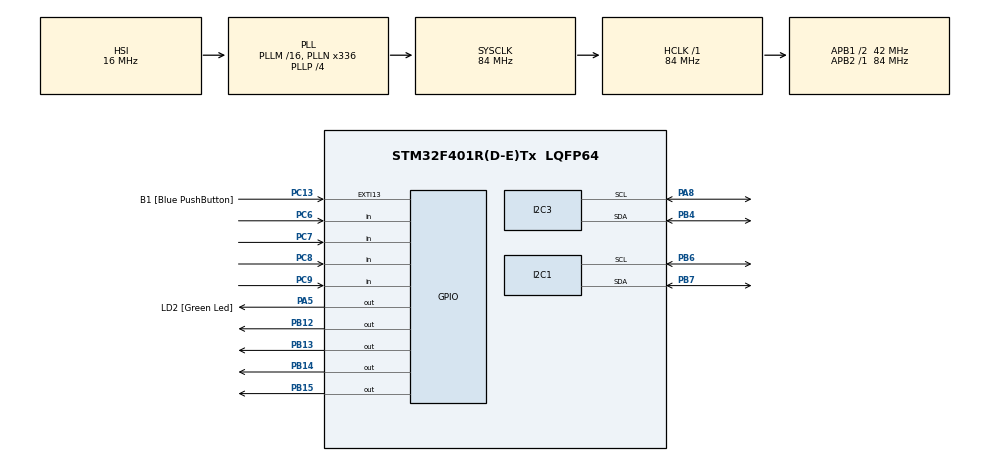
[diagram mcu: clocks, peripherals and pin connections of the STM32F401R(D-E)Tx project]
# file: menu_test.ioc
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Mcu.Family=STM32F4
Mcu.Name=STM32F401R(D-E)Tx
Mcu.Package=LQFP64
NVIC.PriorityGroup=NVIC_PRIORITYGROUP_0
PA13.GPIO_Label=TMS
PA13.Signal=SYS_JTMS-SWDIO
PA14.GPIO_Label=TCK
PA14.Signal=SYS_JTCK-SWCLK
PA2.GPIO_Label=USART_TX
PA2.GPIO_Mode=GPIO_MODE_AF_PP
PA2.GPIO_PuPd=GPIO_NOPULL
PA2.GPIO_Speed=GPIO_SPEED_FREQ_LOW
PA2.Signal=USART2_TX
PA3.GPIO_Label=USART_RX
PA3.GPIO_Mode=GPIO_MODE_AF_PP
PA3.GPIO_PuPd=GPIO_NOPULL
PA3.GPIO_Speed=GPIO_SPEED_FREQ_LOW
PA3.Signal=USART2_RX
PA5.GPIO_Label=LD2 [Green Led]
PA5.GPIO_Mode=GPIO_MODE_OUTPUT_PP
PA5.GPIO_PuPd=GPIO_NOPULL
PA5.GPIO_Speed=GPIO_SPEED_FREQ_LOW
PA5.Signal=GPIO_Output
PA8.Mode=I2C
PA8.Signal=I2C3_SCL
PB12.PinState=GPIO_PIN_SET
PB12.Signal=GPIO_Output
PB13.PinState=GPIO_PIN_SET
PB13.Signal=GPIO_Output
PB14.PinState=GPIO_PIN_SET
PB14.Signal=GPIO_Output
PB15.PinState=GPIO_PIN_SET
PB15.Signal=GPIO_Output
PB3.GPIO_Label=SWO
PB3.Signal=SYS_JTDO-SWO
PB4.Mode=I2C
PB4.Signal=I2C3_SDA
PB6.Mode=I2C
PB6.Signal=I2C1_SCL
PB7.Mode=I2C
PB7.Signal=I2C1_SDA
PC13-ANTI_TAMP.GPIO_Label=B1 [Blue PushButton]
PC13-ANTI_TAMP.GPIO_ModeDefaultEXTI=GPIO_MODE_IT_FALLING
PC13-ANTI_TAMP.GPIO_PuPd=GPIO_NOPULL
PC13-ANTI_TAMP.Signal=GPXTI13
PC14-OSC32_IN.Signal=RCC_OSC32_IN
PC15-OSC32_OUT.Signal=RCC_OSC32_OUT
PC6.GPIO_PuPd=GPIO_PULLUP
PC6.Signal=GPIO_Input
PC7.GPIO_PuPd=GPIO_PULLUP
PC7.Signal=GPIO_Input
PC8.GPIO_PuPd=GPIO_PULLUP
PC8.Signal=GPIO_Input
PC9.GPIO_PuPd=GPIO_PULLUP
PC9.Signal=GPIO_Input
PH0\ -\ OSC_IN.Signal=RCC_OSC_IN
PH1\ -\ OSC_OUT.Signal=RCC_OSC_OUT
ProjectManager.HeapSize=0x200
ProjectManager.StackSize=0x400
ProjectManager.TargetToolchain=STM32CubeIDE
RCC.AHBFreq_Value=84000000
RCC.APB1CLKDivider=RCC_HCLK_DIV2
RCC.APB1Freq_Value=42000000
RCC.APB1TimFreq_Value=84000000
RCC.APB2Freq_Value=84000000
RCC.APB2TimFreq_Value=84000000
RCC.CortexFreq_Value=84000000
RCC.HCLKFreq_Value=84000000
RCC.HSE_VALUE=8000000
RCC.HSI_VALUE=16000000
RCC.LSE_VALUE=32768
RCC.PLLN=336
RCC.PLLP=RCC_PLLP_DIV4
RCC.PLLQ=7
RCC.SYSCLKFreq_VALUE=84000000
RCC.SYSCLKSource=RCC_SYSCLKSOURCE_PLLCLK
RCC.VCOOutputFreq_Value=336000000
board=NUCLEO-F401RE

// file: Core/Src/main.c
/* USER CODE BEGIN Header */
/**
  ******************************************************************************
  * @file           : main.c
  * @brief          : Main program body
  ******************************************************************************
  * @attention
  *
  * Copyright (c) 2025 STMicroelectronics.
  * All rights reserved.
  *
  * This software is licensed under terms that can be found in the LICENSE file
  * in the root directory of this software component.
  * If no LICENSE file comes with this software, it is provided AS-IS.
  *
  ******************************************************************************
  */
/* USER CODE END Header */
#include "main.h"

/* USER CODE BEGIN Includes */
#include "keypad.h"
#include "LCD_I2C.h"
#include "stdio.h"
/* USER CODE END Includes */

I2C_HandleTypeDef hi2c1;
I2C_HandleTypeDef hi2c3;

/* USER CODE BEGIN PV */
CLCD_I2C_Name LCD1;
/* USER CODE END PV */

void SystemClock_Config(void);
static void MX_GPIO_Init(void);
static void MX_I2C1_Init(void);
static void MX_I2C3_Init(void);

/* USER CODE BEGIN 0 */

typedef struct{
	uint8_t payload[20];
	uint16_t len;
}parameter_t;

parameter_t data;

void delete_data(parameter_t *data) {
    if (data->len > 0) { // Kiểm tra xem có dữ liệu để xóa không
        data->len--; // Giảm độ dài
        data->payload[data->len] = '\0'; // �?ặt ký tự cuối thành '\0'
    }
}

void add_data(parameter_t *data, char c) {
    if (data->len < 10) { // �?ảm bảo không vượt quá mảng
        data->payload[data->len] = c; // Thêm ký tự vào vị trí tiếp theo
        data->len++;                   // Cập nhật độ dài
        data->payload[data->len] = '\0'; // �?ảm bảo kết thúc chuỗi
    }
}

void set_cow(uint8_t prev_state, uint8_t new_state) {
    CLCD_I2C_SetCursor(&LCD1, 19, prev_state); // Xóa ký tự "<" ở vị trí cũ
    CLCD_I2C_WriteString(&LCD1, " ");

    CLCD_I2C_SetCursor(&LCD1, 19, new_state); // Hiển thị ký tự "<" ở vị trí mới
    CLCD_I2C_WriteString(&LCD1, "<");
}

/* USER CODE END 0 */

int main(void)
{

  /* MCU Configuration--------------------------------------------------------*/

  /* Reset of all peripherals, Initializes the Flash interface and the Systick. */
  HAL_Init();

  /* Configure the system clock */
  SystemClock_Config();

  /* Initialize all configured peripherals */
  MX_GPIO_Init();
  MX_I2C1_Init();
  MX_I2C3_Init();
  /* USER CODE BEGIN 2 */
  CLCD_I2C_Init(&LCD1,&hi2c1,0x4e,20,4);
  CLCD_I2C_SetCursor(&LCD1, 0, 0);
  CLCD_I2C_WriteString(&LCD1,"s1:");
  CLCD_I2C_SetCursor(&LCD1, 0, 1);
  CLCD_I2C_WriteString(&LCD1,"t1:");
  CLCD_I2C_SetCursor(&LCD1, 0, 2);
  CLCD_I2C_WriteString(&LCD1,"s2:");
  CLCD_I2C_SetCursor(&LCD1, 0, 3);
  CLCD_I2C_WriteString(&LCD1,"t2:");
  CLCD_I2C_SetCursor(&LCD1, 19, 0);
  CLCD_I2C_WriteString(&LCD1, "<");

  /* USER CODE END 2 */

  /* Infinite loop */
  /* USER CODE BEGIN WHILE */

#define s1_s 0
#define t1_s 1
#define s2_s 2
#define t2_s 3

#define ENTER_PASSWORD 0
#define SET_PARAMETER 1
#define SAVE_PARAMETER 2

  while (1)
  {
    /* USER CODE END WHILE */

    /* USER CODE BEGIN 3 */

	      static parameter_t data[4] = {{{0}, 0}}; // Mảng chứa 4 cấu hình
	  	  static uint8_t state = 0;
	  	  static parameter_t password = {{0},0};

	  	  uint16_t btn_value;
	  	  btn_value = process_button_pad_value(read_keypad());
	  	  static uint16_t menu_state = SET_PARAMETER;

	  	if (btn_value) {
	  		printf("%d\n",btn_value);
		  	uint8_t prev_state;
		  	switch(menu_state){
				case SET_PARAMETER:
					switch (btn_value) {
						case BUTTON_A_3:
							CLCD_I2C_WriteString(&LCD1, "config state");
							break;

						case BUTTON_1:
							add_data(&data[state], '1');
							printf("len=%d, payload=%s\n", data[state].len, data[state].payload);
							CLCD_I2C_SetCursor(&LCD1, 3, state);
							CLCD_I2C_WriteString(&LCD1, (char*)data[state].payload);
							break;

						case BUTTON_2:
							add_data(&data[state], '2');
							printf("len=%d, payload=%s\n", data[state].len, data[state].payload);
							CLCD_I2C_SetCursor(&LCD1, 3, state);
							CLCD_I2C_WriteString(&LCD1, (char*)data[state].payload);
							break;

						case BUTTON_3:
							add_data(&data[state], '3');
							printf("len=%d, payload=%s\n", data[state].len, data[state].payload);
							CLCD_I2C_SetCursor(&LCD1, 3, state);
							CLCD_I2C_WriteString(&LCD1, (char*)data[state].payload);
							break;

						case BUTTON_A:
							prev_state = state; // save old position
							if (state == s1_s) state = t2_s;
							else state--; // new postion
							set_cow(prev_state, state);
							break;

						case BUTTON_4:
							add_data(&data[state], '4');
							printf("len=%d, payload=%s\n", data[state].len, data[state].payload);
							CLCD_I2C_SetCursor(&LCD1, 3, state);
							CLCD_I2C_WriteString(&LCD1, (char*)data[state].payload);
							break;

						case BUTTON_5:
							add_data(&data[state], '5');
							printf("len=%d, payload=%s\n", data[state].len, data[state].payload);
							CLCD_I2C_SetCursor(&LCD1, 3, state);
							CLCD_I2C_WriteString(&LCD1, (char*)data[state].payload);
							break;

						case BUTTON_6:
							add_data(&data[state], '6');
							printf("len=%d, payload=%s\n", data[state].len, data[state].payload);
							CLCD_I2C_SetCursor(&LCD1, 3, state);
							CLCD_I2C_WriteString(&LCD1, (char*)data[state].payload);
							break;

						case BUTTON_B:
							prev_state = state; // save old position
							if (state == t2_s) state = s1_s;
							else state++; // new position
							set_cow(prev_state, state);
							break;

						case BUTTON_7:
							add_data(&data[state], '7');
							printf("len=%d, payload=%s\n", data[state].len, data[state].payload);
							CLCD_I2C_SetCursor(&LCD1, 3, state);
							CLCD_I2C_WriteString(&LCD1, (char*)data[state].payload);
							break;

						case BUTTON_8:
							add_data(&data[state], '8');
							printf("len=%d, payload=%s\n", data[state].len, data[state].payload);
							CLCD_I2C_SetCursor(&LCD1, 3, state);
							CLCD_I2C_WriteString(&LCD1, (char*)data[state].payload);
							break;

						case BUTTON_9:
							add_data(&data[state], '9');
							printf("len=%d, payload=%s\n", data[state].len, data[state].payload);
							CLCD_I2C_SetCursor(&LCD1, 3, state);
							CLCD_I2C_WriteString(&LCD1, (char*)data[state].payload);
							break;

						case BUTTON_C:
							delete_data(&data[state]);
							printf("len=%d, payload=%s\n", data[state].len, data[state].payload);
							CLCD_I2C_SetCursor(&LCD1, 3+data[state].len, state);
							CLCD_I2C_WriteString(&LCD1, " ");
							CLCD_I2C_SetCursor(&LCD1, 3, state);
							CLCD_I2C_WriteString(&LCD1, (char*)data[state].payload);
							break;

						case BUTTON_Star:
							CLCD_I2C_WriteString(&LCD1, "*");
							break;

						case BUTTON_0:
							add_data(&data[state], '0');
							printf("len=%d, payload=%s\n", data[state].len, data[state].payload);
							CLCD_I2C_SetCursor(&LCD1, 3, state);
							CLCD_I2C_WriteString(&LCD1, (char*)data[state].payload);
							break;

						case BUTTON_Hash:
							CLCD_I2C_WriteString(&LCD1, "#");
							break;

						case BUTTON_D:
							 menu_state = ENTER_PASSWORD;
							 CLCD_I2C_Clear(&LCD1);
							 CLCD_I2C_SetCursor(&LCD1, 2, 0);
							 CLCD_I2C_WriteString(&LCD1, "change password");
							 CLCD_I2C_SetCursor(&LCD1, 0, 1);
							 CLCD_I2C_WriteString(&LCD1, "Enter:");
							 CLCD_I2C_WriteString(&LCD1, (char*)password.payload);
							 break;

						default:
							 break;
							 }// end switch
					break;
				case SAVE_PARAMETER:
					switch (btn_value) {
							case BUTTON_A:
								break;
							case BUTTON_B:
								break;
							case BUTTON_Star:
								 CLCD_I2C_WriteString(&LCD1, "*");
								break;

							case BUTTON_Hash:
								 CLCD_I2C_WriteString(&LCD1, "#");
								break;

							case BUTTON_D:
								 menu_state = SET_PARAMETER;
								 CLCD_I2C_Clear(&LCD1);
								 CLCD_I2C_SetCursor(&LCD1, 0, 0);
								 CLCD_I2C_WriteString(&LCD1, "s1:");
								 CLCD_I2C_SetCursor(&LCD1, 19, state);
								 CLCD_I2C_WriteString(&LCD1, "<");
								 CLCD_I2C_SetCursor(&LCD1, 3, 0);
								 CLCD_I2C_WriteString(&LCD1, (char*)data[0].payload);
								 CLCD_I2C_SetCursor(&LCD1, 0, 1);
								 CLCD_I2C_WriteString(&LCD1, "t1:");
								 CLCD_I2C_SetCursor(&LCD1, 3, 1);
								 CLCD_I2C_WriteString(&LCD1, (char*)data[1].payload);
								 CLCD_I2C_SetCursor(&LCD1, 0, 2);
								 CLCD_I2C_WriteString(&LCD1, "s1:");
								 CLCD_I2C_SetCursor(&LCD1, 3, 2);
								 CLCD_I2C_WriteString(&LCD1, (char*)data[2].payload);
								 CLCD_I2C_SetCursor(&LCD1, 0, 3);
								 CLCD_I2C_WriteString(&LCD1, "s1:");
								 CLCD_I2C_SetCursor(&LCD1, 3, 3);
								 CLCD_I2C_WriteString(&LCD1, (char*)data[3].payload);
								 break;

							 default:
								 break;
						 }// end switch
					break;
				case ENTER_PASSWORD:
					switch (btn_value) {
						case BUTTON_1:
							add_data(&password, '1');
							printf("len=%d, payload=%s\n", password.len, password.payload);
							CLCD_I2C_SetCursor(&LCD1, 6, 1);
							CLCD_I2C_WriteString(&LCD1, (char*)password.payload);
							break;

						case BUTTON_2:
							add_data(&password, '2');
							printf("len=%d, payload=%s\n", password.len, password.payload);
							CLCD_I2C_SetCursor(&LCD1, 6, 1);
							CLCD_I2C_WriteString(&LCD1, (char*)password.payload);
							break;

						case BUTTON_3:
							add_data(&password, '3');
							printf("len=%d, payload=%s\n", password.len, password.payload);
							CLCD_I2C_SetCursor(&LCD1, 6, 1);
							CLCD_I2C_WriteString(&LCD1, (char*)password.payload);
							break;

						case BUTTON_4:
							add_data(&password, '4');
							printf("len=%d, payload=%s\n", password.len, password.payload);
							CLCD_I2C_SetCursor(&LCD1, 6, 1);
							CLCD_I2C_WriteString(&LCD1, (char*)password.payload);
							break;

						case BUTTON_5:
							add_data(&password, '5');
							printf("len=%d, payload=%s\n", password.len, password.payload);
							CLCD_I2C_SetCursor(&LCD1, 6, 1);
							CLCD_I2C_WriteString(&LCD1, (char*)password.payload);
							break;

						 case BUTTON_6:
							add_data(&password, '6');
							printf("len=%d, payload=%s\n", password.len, password.payload);
							CLCD_I2C_SetCursor(&LCD1, 6, 1);
							CLCD_I2C_WriteString(&LCD1, (char*)password.payload);
							break;

						 case BUTTON_7:
							add_data(&password, '7');
							printf("len=%d, payload=%s\n", password.len, password.payload);
							CLCD_I2C_SetCursor(&LCD1, 6, 1);
							CLCD_I2C_WriteString(&LCD1, (char*)password.payload);
							break;

						 case BUTTON_8:
							add_data(&password, '8');
							printf("len=%d, payload=%s\n", password.len, password.payload);
							CLCD_I2C_SetCursor(&LCD1, 6, 1);
							CLCD_I2C_WriteString(&LCD1, (char*)password.payload);
							break;

						 case BUTTON_9:
							add_data(&password, '9');
							printf("len=%d, payload=%s\n", password.len, password.payload);
							CLCD_I2C_SetCursor(&LCD1, 6, 1);
							CLCD_I2C_WriteString(&LCD1, (char*)password.payload);
							break;

						 case BUTTON_C:
							delete_data(&password);
							printf("len=%d, payload=%s\n", password.len, password.payload);
							CLCD_I2C_SetCursor(&LCD1, 6+password.len, 1);
							CLCD_I2C_WriteString(&LCD1, " ");
							CLCD_I2C_SetCursor(&LCD1, 6, 1);
							CLCD_I2C_WriteString(&LCD1, (char*)password.payload);
							break;

						 case BUTTON_Star:
							 CLCD_I2C_WriteString(&LCD1, "*");
							 break;

						 case BUTTON_0:
							add_data(&password, '0');
							printf("len=%d, payload=%s\n", password.len, password.payload);
							CLCD_I2C_SetCursor(&LCD1, 6, 1);
							CLCD_I2C_WriteString(&LCD1, (char*)password.payload);
							 break;

						 case BUTTON_Hash:
							 CLCD_I2C_WriteString(&LCD1, "#");
							 break;

						 case BUTTON_D:
							 menu_state = SAVE_PARAMETER;
							 CLCD_I2C_Clear(&LCD1);
							 CLCD_I2C_SetCursor(&LCD1, 0, 0);
							 CLCD_I2C_WriteString(&LCD1, "Save new parameter?");
							 CLCD_I2C_SetCursor(&LCD1, 2, 1);
							 CLCD_I2C_WriteString(&LCD1, "YES(A)");
							 CLCD_I2C_SetCursor(&LCD1, 10, 1);
							 CLCD_I2C_WriteString(&LCD1, "NO(B)");
							 break;

						 default:
							 break;
						 }// end switch
					break;
	  		     }
	  	}
  }
  /* USER CODE END 3 */
}

void SystemClock_Config(void)
{
  RCC_OscInitTypeDef RCC_OscInitStruct = {0};
  RCC_ClkInitTypeDef RCC_ClkInitStruct = {0};

  /** Configure the main internal regulator output voltage
  */
  __HAL_RCC_PWR_CLK_ENABLE();
  __HAL_PWR_VOLTAGESCALING_CONFIG(PWR_REGULATOR_VOLTAGE_SCALE2);

  /** Initializes the RCC Oscillators according to the specified parameters
  * in the RCC_OscInitTypeDef structure.
  */
  RCC_OscInitStruct.OscillatorType = RCC_OSCILLATORTYPE_HSI;
  RCC_OscInitStruct.HSIState = RCC_HSI_ON;
  RCC_OscInitStruct.HSICalibrationValue = RCC_HSICALIBRATION_DEFAULT;
  RCC_OscInitStruct.PLL.PLLState = RCC_PLL_ON;
  RCC_OscInitStruct.PLL.PLLSource = RCC_PLLSOURCE_HSI;
  RCC_OscInitStruct.PLL.PLLM = 16;
  RCC_OscInitStruct.PLL.PLLN = 336;
  RCC_OscInitStruct.PLL.PLLP = RCC_PLLP_DIV4;
  RCC_OscInitStruct.PLL.PLLQ = 7;
  if (HAL_RCC_OscConfig(&RCC_OscInitStruct) != HAL_OK)
  {
    Error_Handler();
  }

  /** Initializes the CPU, AHB and APB buses clocks
  */
  RCC_ClkInitStruct.ClockType = RCC_CLOCKTYPE_HCLK|RCC_CLOCKTYPE_SYSCLK
                              |RCC_CLOCKTYPE_PCLK1|RCC_CLOCKTYPE_PCLK2;
  RCC_ClkInitStruct.SYSCLKSource = RCC_SYSCLKSOURCE_PLLCLK;
  RCC_ClkInitStruct.AHBCLKDivider = RCC_SYSCLK_DIV1;
  RCC_ClkInitStruct.APB1CLKDivider = RCC_HCLK_DIV2;
  RCC_ClkInitStruct.APB2CLKDivider = RCC_HCLK_DIV1;

  if (HAL_RCC_ClockConfig(&RCC_ClkInitStruct, FLASH_LATENCY_2) != HAL_OK)
  {
    Error_Handler();
  }
}

static void MX_I2C1_Init(void)
{

  hi2c1.Instance = I2C1;
  hi2c1.Init.ClockSpeed = 100000;
  hi2c1.Init.DutyCycle = I2C_DUTYCYCLE_2;
  hi2c1.Init.OwnAddress1 = 0;
  hi2c1.Init.AddressingMode = I2C_ADDRESSINGMODE_7BIT;
  hi2c1.Init.DualAddressMode = I2C_DUALADDRESS_DISABLE;
  hi2c1.Init.OwnAddress2 = 0;
  hi2c1.Init.GeneralCallMode = I2C_GENERALCALL_DISABLE;
  hi2c1.Init.NoStretchMode = I2C_NOSTRETCH_DISABLE;
  if (HAL_I2C_Init(&hi2c1) != HAL_OK)
  {
    Error_Handler();
  }

}

static void MX_I2C3_Init(void)
{

  hi2c3.Instance = I2C3;
  hi2c3.Init.ClockSpeed = 100000;
  hi2c3.Init.DutyCycle = I2C_DUTYCYCLE_2;
  hi2c3.Init.OwnAddress1 = 0;
  hi2c3.Init.AddressingMode = I2C_ADDRESSINGMODE_7BIT;
  hi2c3.Init.DualAddressMode = I2C_DUALADDRESS_DISABLE;
  hi2c3.Init.OwnAddress2 = 0;
  hi2c3.Init.GeneralCallMode = I2C_GENERALCALL_DISABLE;
  hi2c3.Init.NoStretchMode = I2C_NOSTRETCH_DISABLE;
  if (HAL_I2C_Init(&hi2c3) != HAL_OK)
  {
    Error_Handler();
  }

}

static void MX_GPIO_Init(void)
{
  GPIO_InitTypeDef GPIO_InitStruct = {0};

  /* GPIO Ports Clock Enable */
  __HAL_RCC_GPIOC_CLK_ENABLE();
  __HAL_RCC_GPIOH_CLK_ENABLE();
  __HAL_RCC_GPIOA_CLK_ENABLE();
  __HAL_RCC_GPIOB_CLK_ENABLE();

  /*Configure GPIO pin Output Level */
  HAL_GPIO_WritePin(LD2_GPIO_Port, LD2_Pin, GPIO_PIN_RESET);

  /*Configure GPIO pin Output Level */
  HAL_GPIO_WritePin(GPIOB, GPIO_PIN_12|GPIO_PIN_13|GPIO_PIN_14|GPIO_PIN_15, GPIO_PIN_SET);

  /*Configure GPIO pin : B1_Pin */
  GPIO_InitStruct.Pin = B1_Pin;
  GPIO_InitStruct.Mode = GPIO_MODE_IT_FALLING;
  GPIO_InitStruct.Pull = GPIO_NOPULL;
  HAL_GPIO_Init(B1_GPIO_Port, &GPIO_InitStruct);

  /*Configure GPIO pins : USART_TX_Pin USART_RX_Pin */
  GPIO_InitStruct.Pin = USART_TX_Pin|USART_RX_Pin;
  GPIO_InitStruct.Mode = GPIO_MODE_AF_PP;
  GPIO_InitStruct.Pull = GPIO_NOPULL;
  GPIO_InitStruct.Speed = GPIO_SPEED_FREQ_LOW;
  GPIO_InitStruct.Alternate = GPIO_AF7_USART2;
  HAL_GPIO_Init(GPIOA, &GPIO_InitStruct);

  /*Configure GPIO pin : LD2_Pin */
  GPIO_InitStruct.Pin = LD2_Pin;
  GPIO_InitStruct.Mode = GPIO_MODE_OUTPUT_PP;
  GPIO_InitStruct.Pull = GPIO_NOPULL;
  GPIO_InitStruct.Speed = GPIO_SPEED_FREQ_LOW;
  HAL_GPIO_Init(LD2_GPIO_Port, &GPIO_InitStruct);

  /*Configure GPIO pins : PB12 PB13 PB14 PB15 */
  GPIO_InitStruct.Pin = GPIO_PIN_12|GPIO_PIN_13|GPIO_PIN_14|GPIO_PIN_15;
  GPIO_InitStruct.Mode = GPIO_MODE_OUTPUT_PP;
  GPIO_InitStruct.Pull = GPIO_NOPULL;
  GPIO_InitStruct.Speed = GPIO_SPEED_FREQ_LOW;
  HAL_GPIO_Init(GPIOB, &GPIO_InitStruct);

  /*Configure GPIO pins : PC6 PC7 PC8 PC9 */
  GPIO_InitStruct.Pin = GPIO_PIN_6|GPIO_PIN_7|GPIO_PIN_8|GPIO_PIN_9;
  GPIO_InitStruct.Mode = GPIO_MODE_INPUT;
  GPIO_InitStruct.Pull = GPIO_PULLUP;
  HAL_GPIO_Init(GPIOC, &GPIO_InitStruct);

}

void Error_Handler(void)
{
  __disable_irq();
  while (1)
  {
  }
}
